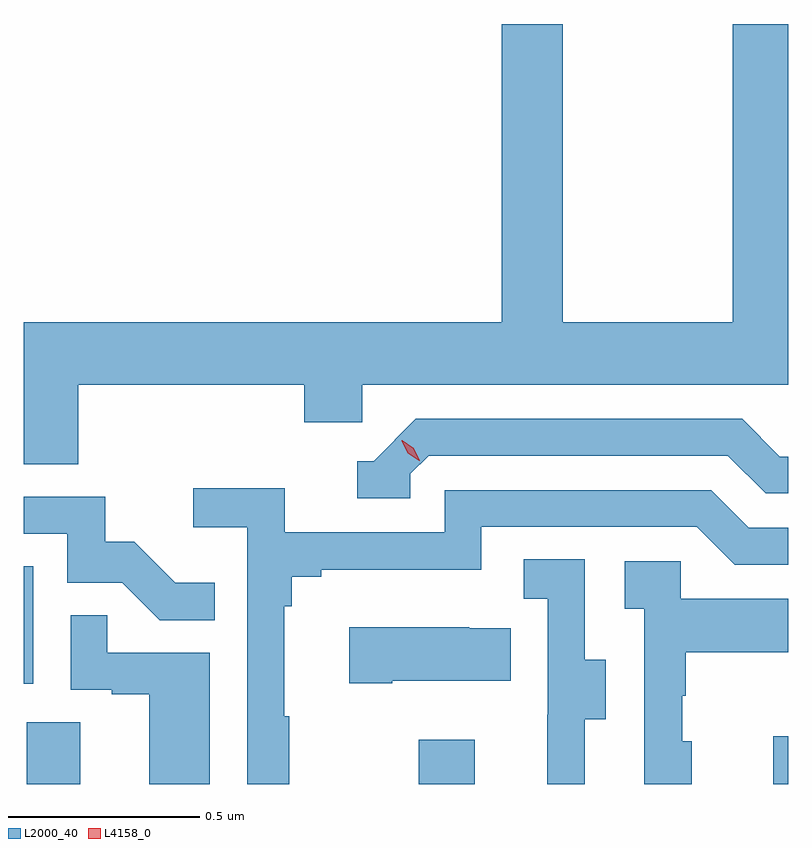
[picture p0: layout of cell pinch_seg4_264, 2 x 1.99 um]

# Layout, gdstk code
import gdstk
lib = gdstk.Library(unit=1e-6, precision=1e-09)
def R(c, l, rs):  # rectangles x0, y0, x1, y1
    for r in rs: c.add(gdstk.rectangle(r[:2], r[2:], *l))
def P(c, l, *ps):  # polygons
    for p in ps: c.add(gdstk.Polygon(p, *l))
L2000_40 = (2000, 40)
L4158_0 = (4158, 0)

pinch_seg4_264 = lib.new_cell('pinch_seg4_264')
R(pinch_seg4_264, L2000_40, [(946.241,819.752,946.381,819.914), (947.266,819.752,947.413,819.868), (948.194,819.752,948.233,819.877), (946.233,820.014,946.258,820.321)])
P(pinch_seg4_264, L2000_40, [(946.376,820.796),(946.967,820.796),(946.967,820.698),(947.118,820.698),(947.118,820.796),(948.233,820.796),(948.233,821.74),(948.088,821.74),(948.088,820.96),(947.643,820.96),(947.643,821.74),(947.483,821.74),(947.483,820.96),(946.233,820.96),(946.233,820.588),(946.376,820.588)],
  [(947.244,820.563),(947.292,820.611),(948.075,820.611),(948.174,820.512),(948.233,820.512),(948.233,820.608),(948.211,820.608),(948.112,820.707),(947.259,820.707),(947.148,820.596),(947.105,820.596),(947.105,820.5),(947.244,820.5)],
  [(946.927,819.929),(946.915,819.929),(946.915,820.217),(946.934,820.217),(946.934,820.294),(947.011,820.294),(947.011,820.313),(947.43,820.313),(947.43,820.425),(947.994,820.425),(948.093,820.326),(948.233,820.326),(948.233,820.422),(948.13,820.422),(948.031,820.521),(947.334,820.521),(947.334,820.41),(946.916,820.41),(946.916,820.526),(946.677,820.526),(946.677,820.424),(946.818,820.424),(946.818,819.752),(946.927,819.752)],
  [(946.733,820.279),(946.629,820.279),(946.522,820.386),(946.446,820.386),(946.446,820.503),(946.233,820.503),(946.233,820.407),(946.347,820.407),(946.347,820.278),(946.491,820.278),(946.589,820.18),(946.733,820.18)],
  [(947.701,819.922),(947.755,819.922),(947.755,820.077),(947.7,820.077),(947.7,820.34),(947.541,820.34),(947.541,820.237),(947.604,820.237),(947.604,819.933),(947.603,819.933),(947.603,819.752),(947.701,819.752)],
  [(947.98,819.864),(947.955,819.864),(947.955,819.983),(947.965,819.983),(947.965,820.097),(948.233,820.097),(948.233,820.237),(947.952,820.237),(947.952,820.335),(947.805,820.335),(947.805,820.211),(947.856,820.211),(947.856,819.752),(947.98,819.752)],
  [(946.72,820.095),(946.451,820.095),(946.451,820.193),(946.356,820.193),(946.356,819.999),(946.463,819.999),(946.463,819.987),(946.562,819.987),(946.562,819.752),(946.72,819.752)],
  [(947.197,820.022),(947.507,820.022),(947.507,820.159),(947.399,820.159),(947.399,820.162),(947.085,820.162),(947.085,820.015),(947.197,820.015)])
P(pinch_seg4_264, L4158_0, [(947.268,820.597),(947.238,820.617),(947.222,820.65),(947.222,820.651),(947.223,820.651),(947.253,820.63),(947.269,820.597),(947.269,820.597)])

lib.write_gds('pinch_seg4_264.gds')
